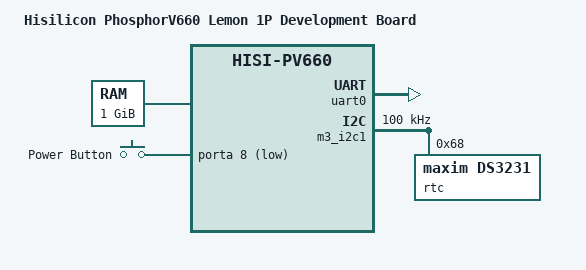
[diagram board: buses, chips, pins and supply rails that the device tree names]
/**
 * dts file for Hisilicon PhosphorV660 Lemon 1P Board
 *
 * Copyright (C) 2014,2015 Hisilicon Ltd.
 *
 * This program is free software; you can redistribute it and/or modify
 * it under the terms of the GNU General Public License version 2 as
 * publishhed by the Free Software Foundation.
 *
 */

/dts-v1/;

/include/ "hip05-2p1s.dtsi"
/include/ "hip05-lemon-pcie.dtsi"

/ {
	model = "Hisilicon PhosphorV660 Lemon 1P Development Board";
	compatible = "hisilicon,hip05-lemon", "hisilicon,hisi-pv660";

	memory@0 {
		device_type = "memory";
		reg = <0x0 0x0 0x0 0x40000000>;
		numa-node-id = <0>;
	};

	/include/ "hip05_hns_lemon.dtsi"

	chosen {
		bootargs = "rdinit=/init earlycon pci=pcie_bus_perf pcie_aspm=off initrd=0x7000000,350M";
		stdout-path = "serial0:115200n8";
	};

	gpio_keys {
		compatible = "gpio-keys";
		#address-cells = <1>;
		#size-cells = <0>;

		pwrbutton {
			label = "Power Button";
			gpios = <&porta 8 1>;
			linux,code = <116>;
			debounce-interval = <0>;
		};
	};


};

&uart0 {
	status = "okay";
};

&m3_i2c1 {
	clock-frequency = <100000>;
	status = "okay";

	rtc: ds3231@68 {
		compatible = "maxim,ds3231";
		reg = <0x68>;
	};
};
